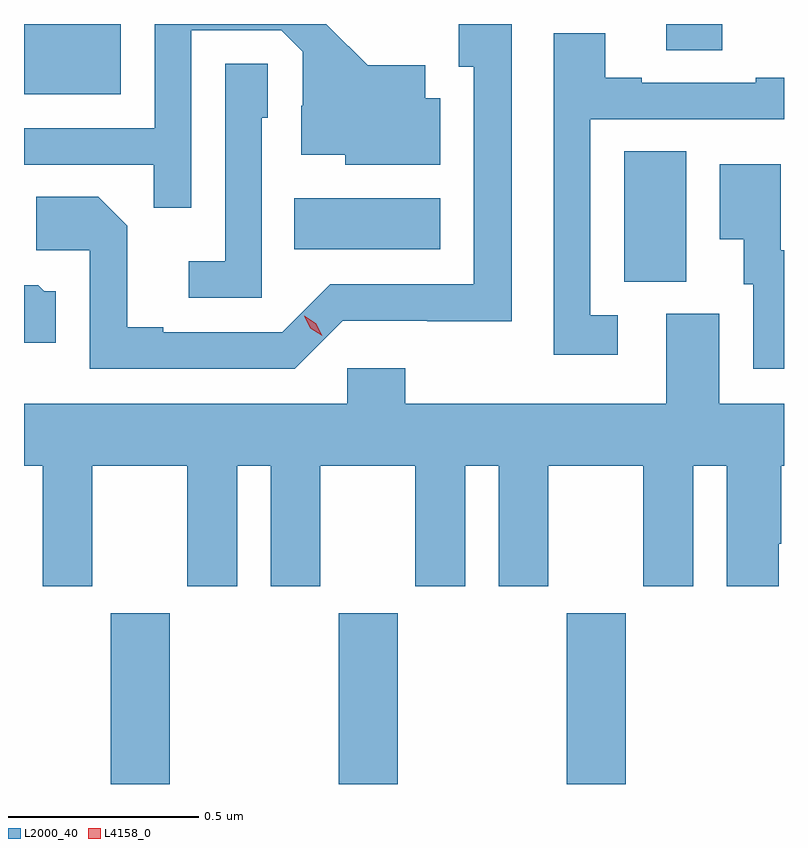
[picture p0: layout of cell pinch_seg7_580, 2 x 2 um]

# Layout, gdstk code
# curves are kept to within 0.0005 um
import gdstk
lib = gdstk.Library(unit=1e-6, precision=1e-09)
def R(c, l, rs):  # rectangles x0, y0, x1, y1
    for r in rs: c.add(gdstk.rectangle(r[:2], r[2:], *l))
def A(c, l, x, y, w, h, nx, ny, dx, dy):  # array of equal rectangles
    R(c, l, [(x+i*dx, y+j*dy, x+i*dx+w, y+j*dy+h) for i in range(nx) for j in range(ny)])
def P(c, l, *ps):  # polygons
    for p in ps: c.add(gdstk.Polygon(p, *l))
L2000_40 = (2000, 40)
L4158_0 = (4158, 0)

pinch_seg7_580 = lib.new_cell('pinch_seg7_580')
A(pinch_seg7_580, L2000_40, 160.861, 1055.723, 0.155, 0.449, 3, 1, 0.6, 0)
R(pinch_seg7_580, L2000_40, [(162.212,1057.045,162.376,1057.388), (161.344,1057.13,161.728,1057.264), (160.633,1057.538,160.888,1057.723), (162.323,1057.654,162.471,1057.723)])
P(pinch_seg7_580, L2000_40, [(161.472,1056.942),(161.694,1056.942),(161.694,1056.941),(161.917,1056.941),(161.917,1057.723),(161.777,1057.723),(161.777,1057.611),(161.816,1057.611),(161.816,1057.038),(161.439,1057.038),(161.313,1056.912),(160.999,1056.912),(160.999,1056.925),(160.905,1056.925),(160.905,1057.192),(160.829,1057.268),(160.665,1057.268),(160.665,1057.128),(160.806,1057.128),(160.806,1056.816),(161.346,1056.816)],
  [(161.073,1057.707),(161.31,1057.707),(161.367,1057.65),(161.367,1057.508),(161.363,1057.508),(161.363,1057.379),(161.478,1057.379),(161.478,1057.352),(161.728,1057.352),(161.728,1057.528),(161.689,1057.528),(161.689,1057.615),(161.537,1057.615),(161.428,1057.723),(160.977,1057.723),(160.977,1057.449),(160.633,1057.449),(160.633,1057.353),(160.975,1057.353),(160.975,1057.24),(161.073,1057.24)],
  [(162.196,1056.957),(162.123,1056.957),(162.123,1057.473),(162.633,1057.473),(162.633,1057.582),(162.559,1057.582),(162.559,1057.569),(162.259,1057.569),(162.259,1057.582),(162.163,1057.582),(162.163,1057.699),(162.027,1057.699),(162.027,1056.852),(162.196,1056.852)],
  [(161.259,1057.476),(161.274,1057.476),(161.274,1057.619),(161.163,1057.619),(161.163,1057.099),(161.067,1057.099),(161.067,1057.002),(161.259,1057.002)],
  [(162.633,1057.128),(162.625,1057.128),(162.625,1057.354),(162.464,1057.354),(162.464,1057.157),(162.527,1057.157),(162.527,1057.038),(162.552,1057.038),(162.552,1056.816),(162.633,1056.816)],
  [(160.717,1057.02),(160.686,1057.02),(160.67,1057.036),(160.633,1057.036),(160.633,1056.884),(160.717,1056.884)],
  [(160.813,1056.56),(161.063,1056.56),(161.063,1056.243),(161.194,1056.243),(161.194,1056.56),(161.282,1056.56),(161.282,1056.243),(161.413,1056.243),(161.413,1056.56),(161.663,1056.56),(161.663,1056.243),(161.794,1056.243),(161.794,1056.56),(161.882,1056.56),(161.882,1056.243),(162.013,1056.243),(162.013,1056.56),(162.263,1056.56),(162.263,1056.243),(162.394,1056.243),(162.394,1056.56),(162.482,1056.56),(162.482,1056.243),(162.619,1056.243),(162.619,1056.355),(162.626,1056.355),(162.626,1056.56),(162.633,1056.56),(162.633,1056.724),(162.463,1056.724),(162.463,1056.96),(162.323,1056.96),(162.323,1056.724),(161.636,1056.724),(161.636,1056.817),(161.484,1056.817),(161.484,1056.724),(160.633,1056.724),(160.633,1056.56),(160.682,1056.56),(160.682,1056.243),(160.813,1056.243)])
P(pinch_seg7_580, L4158_0, [(161.418,1056.903),(161.386,1056.922),(161.37,1056.955),(161.37,1056.955),(161.37,1056.955),(161.401,1056.936),(161.418,1056.903),(161.418,1056.903)])

lib.write_gds('pinch_seg7_580.gds')
